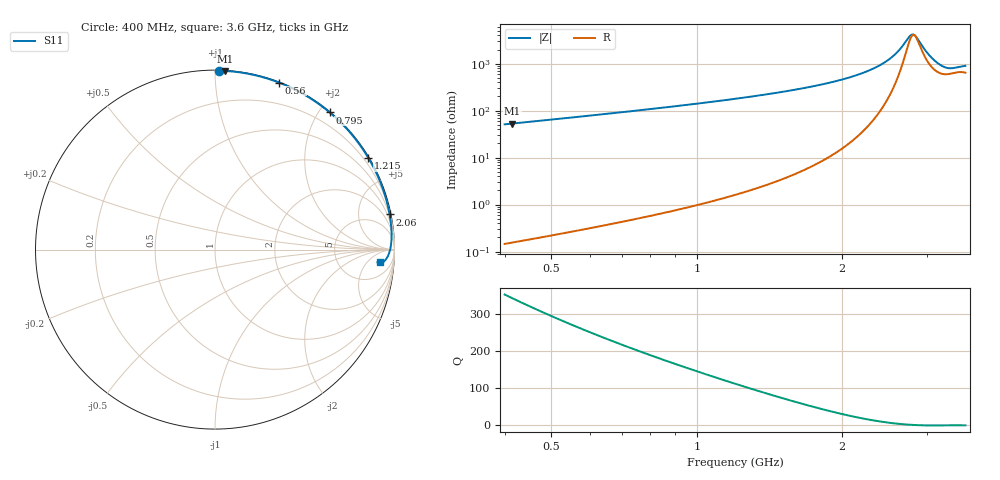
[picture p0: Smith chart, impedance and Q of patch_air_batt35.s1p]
! patch_air_batt35
! simulated by sim/rf_fdtd.py
# HZ S RI R 50
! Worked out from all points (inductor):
!   641 points, 400 MHz to 3.6 GHz, reference 50 ohm
!   read as one part to ground: L = 19.8 nH near 415 MHz
!   highest Q = 341 at 415 MHz (marker M1), where L = 20.3 nH
!   self-resonance near 2.821 GHz
!   S11 on the Smith chart (normalised r, x): 400 MHz: 0.00, +1.02; 560 MHz: 0.01, +1.45; 795 MHz: 0.01, +2.14; 1.215 GHz: 0.03, +3.63; 2.06 GHz: 0, +10; 3.6 GHz: 13, -13
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4e8  0.0204 0.997
4.15e8  0.0583 0.9954
4.5e8  0.1414 0.9868
4.85e8  0.217 0.9729
5.6e8  0.3559 0.9308
6.15e8  0.4401 0.8939
6.7e8  0.5119 0.8546
7.3e8  0.5782 0.8111
7.95e8  0.6384 0.7644
8e8  0.6426 0.7609
8.85e8  0.7058 0.7024
9.8e8  0.7616 0.6413
1.085e9  0.8096 0.5793
1.2e9  0.8501 0.5177
1.215e9  0.8547 0.5101
1.395e9  0.899 0.4263
1.6e9  0.9329 0.3445
1.79e9  0.954 0.2785
2e9  0.9695 0.2135
2.06e9  0.9728 0.1961
2.4e9  0.9832 0.1045
2.8e9  0.9769 0.00515
3.005e9  0.9599 -0.0427
3.2e9  0.9278 -0.0747
3.3e9  0.9104 -0.0764
3.375e9  0.9046 -0.0715
3.475e9  0.9088 -0.0675
3.6e9  0.9211 -0.0717
